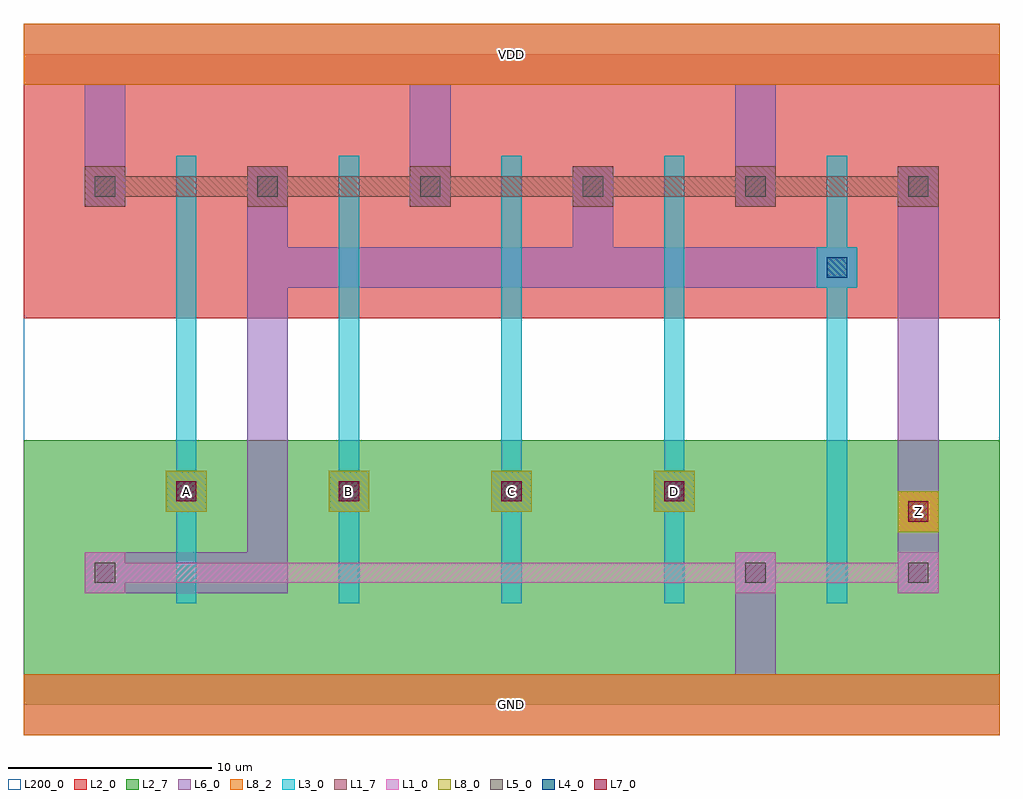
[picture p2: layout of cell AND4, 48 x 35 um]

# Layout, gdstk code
import gdstk
lib = gdstk.Library(unit=1e-6, precision=1e-09)
def R(c, l, rs):  # rectangles x0, y0, x1, y1
    for r in rs: c.add(gdstk.rectangle(r[:2], r[2:], *l))
def A(c, l, x, y, w, h, nx, ny, dx, dy):  # array of equal rectangles
    R(c, l, [(x+i*dx, y+j*dy, x+i*dx+w, y+j*dy+h) for i in range(nx) for j in range(ny)])
def P(c, l, *ps):  # polygons
    for p in ps: c.add(gdstk.Polygon(p, *l))
L1_0 = (1, 0)
L1_7 = (1, 7)
L2_0 = (2, 0)
L2_7 = (2, 7)
L3_0 = (3, 0)
L4_0 = (4, 0)
L5_0 = (5, 0)
L6_0 = (6, 0)
L7_0 = (7, 0)
L8_0 = (8, 0)
L8_2 = (8, 2)
L200_0 = (200, 0)

and4 = lib.new_cell('AND4')
P(and4, L1_0, [(3,5.5),(3,7.5),(5,7.5),(5,7),(35,7),(35,7.5),(37,7.5),(37,7),(43,7),(43,7.5),(45,7.5),(45,5.5),(43,5.5),(43,6),(37,6),(37,5.5),(35,5.5),(35,6),(5,6),(5,5.5)])
P(and4, L1_7, [(3,24.5),(3,26.5),(5,26.5),(5,26),(11,26),(11,26.5),(13,26.5),(13,26),(19,26),(19,26.5),(21,26.5),(21,26),(27,26),(27,26.5),(29,26.5),(29,26),(35,26),(35,26.5),(37,26.5),(37,26),(43,26),(43,26.5),(45,26.5),(45,24.5),(43,24.5),(43,25),(37,25),(37,24.5),(35,24.5),(35,25),(29,25),(29,24.5),(27,24.5),(27,25),(21,25),(21,24.5),(19,24.5),(19,25),(13,25),(13,24.5),(11,24.5),(11,25),(5,25),(5,24.5)])
R(and4, L2_0, [(0,19,48,32)])
R(and4, L2_7, [(0,0,48,13)])
P(and4, L3_0, [(7.5,5),(7.5,9.5),(7,9.5),(7,11.5),(7.5,11.5),(7.5,27),(8.5,27),(8.5,11.5),(9,11.5),(9,9.5),(8.5,9.5),(8.5,5)],
  [(15.5,5),(15.5,9.5),(15,9.5),(15,11.5),(15.5,11.5),(15.5,27),(16.5,27),(16.5,11.5),(17,11.5),(17,9.5),(16.5,9.5),(16.5,5)],
  [(23.5,5),(23.5,9.5),(23,9.5),(23,11.5),(23.5,11.5),(23.5,27),(24.5,27),(24.5,11.5),(25,11.5),(25,9.5),(24.5,9.5),(24.5,5)],
  [(31.5,5),(31.5,9.5),(31,9.5),(31,11.5),(31.5,11.5),(31.5,27),(32.5,27),(32.5,11.5),(33,11.5),(33,9.5),(32.5,9.5),(32.5,5)],
  [(39.5,5),(39.5,20.5),(39,20.5),(39,22.5),(39.5,22.5),(39.5,27),(40.5,27),(40.5,22.5),(41,22.5),(41,20.5),(40.5,20.5),(40.5,5)])
A(and4, L4_0, 7.5, 10, 1, 1, 4, 1, 8, 0)
R(and4, L4_0, [(39.5,21,40.5,22)])
A(and4, L5_0, 3.5, 25, 1, 1, 6, 1, 8, 0)
R(and4, L5_0, [(3.5,6,4.5,7), (35.5,6,36.5,7), (43.5,6,44.5,7)])
A(and4, L6_0, 7, 9.5, 2, 2, 4, 1, 8, 0)
R(and4, L6_0, [(43,5.5,45,26.5)])
P(and4, L6_0, [(0,-1.5),(0,1.5),(35,1.5),(35,7.5),(37,7.5),(37,1.5),(48,1.5),(48,-1.5)],
  [(3,5.5),(3,7.5),(11,7.5),(11,26.5),(13,26.5),(13,22.5),(27,22.5),(27,26.5),(29,26.5),(29,22.5),(41,22.5),(41,20.5),(13,20.5),(13,5.5)],
  [(3,24.5),(3,30.5),(0,30.5),(0,33.5),(48,33.5),(48,30.5),(37,30.5),(37,24.5),(35,24.5),(35,30.5),(21,30.5),(21,24.5),(19,24.5),(19,30.5),(5,30.5),(5,24.5)])
A(and4, L7_0, 7.5, 10, 1, 1, 4, 1, 8, 0)
R(and4, L7_0, [(43.5,9,44.5,10)])
A(and4, L8_0, 7, 9.5, 2, 2, 4, 1, 8, 0)
R(and4, L8_0, [(43,8.5,45,10.5)])
A(and4, L8_2, 7, 9.5, 2, 2, 4, 1, 8, 0)
R(and4, L8_2, [(43,8.5,45,10.5)])
R(and4, L200_0, [(0,0,48,32)])
and4.add(gdstk.FlexPath([(0,32),(48,32)], 3, ends="flush", simple_path=True, layer=8, datatype=2))  # L8_2
and4.add(gdstk.FlexPath([(0,0),(48,0)], 3, ends="flush", simple_path=True, layer=8, datatype=2))  # L8_2
and4.add(gdstk.Label('GND', (24,0), layer=6, texttype=1))
and4.add(gdstk.Label('VDD', (24,32), layer=6, texttype=1))
and4.add(gdstk.Label('A', (8,10.5), layer=8, texttype=1))
and4.add(gdstk.Label('B', (16,10.5), layer=8, texttype=1))
and4.add(gdstk.Label('C', (24,10.5), layer=8, texttype=1))
and4.add(gdstk.Label('D', (32,10.5), layer=8, texttype=1))
and4.add(gdstk.Label('Z', (44,9.5), layer=8, texttype=1))

lib.write_gds('AND4.gds')
